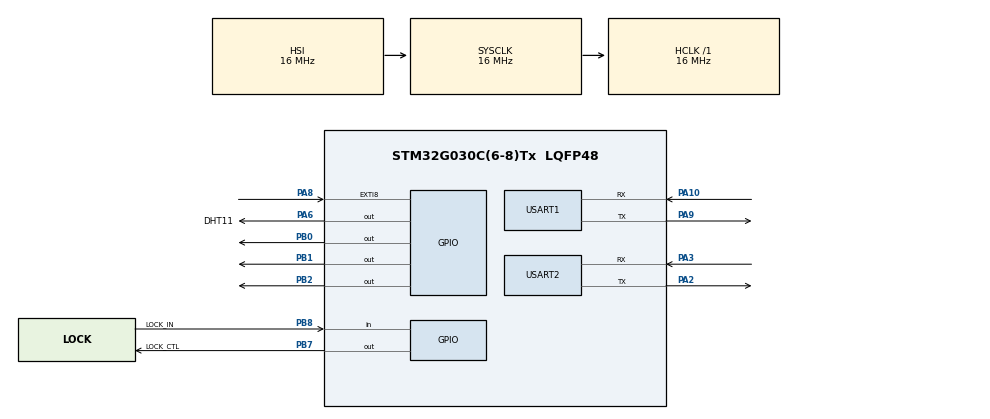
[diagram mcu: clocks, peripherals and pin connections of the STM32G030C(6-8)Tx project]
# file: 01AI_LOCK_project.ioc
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Mcu.Family=STM32G0
Mcu.Name=STM32G030C(6-8)Tx
Mcu.Package=LQFP48
NVIC.EXTI4_15_IRQn=true\:0\:0\:false\:false\:true\:true\:true\:true
NVIC.USART1_IRQn=true\:0\:0\:false\:false\:true\:true\:true\:true
NVIC.USART2_IRQn=true\:0\:0\:false\:false\:true\:true\:true\:true
PA10.Mode=Asynchronous
PA10.Signal=USART1_RX
PA13.Mode=Serial_Wire
PA13.Signal=SYS_SWDIO
PA14-BOOT0.Mode=Serial_Wire
PA14-BOOT0.Signal=SYS_SWCLK
PA2.Mode=Asynchronous
PA2.Signal=USART2_TX
PA3.Mode=Asynchronous
PA3.Signal=USART2_RX
PA6.GPIO_Label=DHT11
PA6.Signal=GPIO_Output
PA8.GPIO_ModeDefaultEXTI=GPIO_MODE_IT_FALLING
PA8.GPIO_PuPd=GPIO_NOPULL
PA8.Signal=GPXTI8
PA9.Mode=Asynchronous
PA9.Signal=USART1_TX
PB0.Signal=GPIO_Output
PB1.PinState=GPIO_PIN_RESET
PB1.Signal=GPIO_Output
PB2.PinState=GPIO_PIN_RESET
PB2.Signal=GPIO_Output
PB7.GPIO_Label=LOCK_CTL
PB7.Signal=GPIO_Output
PB8.GPIO_Label=LOCK_IN
PB8.GPIO_PuPd=GPIO_PULLUP
PB8.Signal=GPIO_Input
ProjectManager.HeapSize=0x200
ProjectManager.StackSize=0x400
ProjectManager.TargetToolchain=STM32CubeIDE
RCC.AHBFreq_Value=16000000
RCC.CortexFreq_Value=16000000
RCC.EXTERNAL_CLOCK_VALUE=12288000
RCC.HCLKFreq_Value=16000000
RCC.HSE_VALUE=8000000
RCC.HSI_VALUE=16000000
RCC.LSE_VALUE=32768
RCC.SYSCLKFreq_VALUE=16000000
RCC.VCOOutputFreq_Value=128000000
USART1.VirtualMode-Asynchronous=VM_ASYNC
USART2.VirtualMode-Asynchronous=VM_ASYNC
board=custom

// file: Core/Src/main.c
/* USER CODE BEGIN Header */
/**
  ******************************************************************************
  * @file           : main.c
  * @brief          : Main program body
  ******************************************************************************
  * @attention
  *
  * Copyright (c) 2026 STMicroelectronics.
  * All rights reserved.
  *
  * This software is licensed under terms that can be found in the LICENSE file
  * in the root directory of this software component.
  * If no LICENSE file comes with this software, it is provided AS-IS.
  *
  ******************************************************************************
  */
/* USER CODE END Header */
#include "main.h"
#include "usart.h"
#include "gpio.h"

/* USER CODE BEGIN Includes */
#include <stdio.h>
#include <string.h>
#include <stdlib.h>
#include "cJSON.h"
#include "wifi.h"
#include "huawei_yun.h"
#include "dht11.h"

/* USER CODE END Includes */

void SystemClock_Config(void);

/* USER CODE BEGIN 0 */
enum CMD_TYPE
{
	LOCK_STATE = 0,
	TEMP_VAL,
};

struct cmd_t
{
	int type;
	int lock_state;
	float temp;
};
uint8_t Rx_buf[32];
int state = 0;
uint8_t humiH,humiL,tempH,tempL;
/* USER CODE END 0 */

int main(void)
{

  /* MCU Configuration--------------------------------------------------------*/

  /* Reset of all peripherals, Initializes the Flash interface and the Systick. */
  HAL_Init();

  /* Configure the system clock */
  SystemClock_Config();

  /* Initialize all configured peripherals */
  MX_GPIO_Init();
  MX_USART1_UART_Init();
  MX_USART2_UART_Init();
  /* USER CODE BEGIN 2 */
  //�??启串口不定长接收中断
  HAL_UARTEx_ReceiveToIdle_IT(&huart1, Rx_buf,sizeof(Rx_buf));
  //开启串口2的不定长接收中断
  HAL_UARTEx_ReceiveToIdle_IT(&huart2, USART2_RxBuff, 1024);

  // 初始化
  WIFI_Connect();
  Huawei_Yun_Init();

  // 华为云连接成功的标准
  connect_flag = 1;

  int time = 1;
  // 采集到的实际锁状态
  int lock_state_equipment = 0;

  //初始�?
  delay_init(16);
  /* USER CODE END 2 */

  /* Infinite loop */
  /* USER CODE BEGIN WHILE */
  while (1)
  {
	 // 45是防止被10整除，导致两条数据一起发送沾包
	 if(time++ == 45)
	 {
		time = 1;
		DHT11_Read_Data(&humiH,&humiL,&tempH,&tempL);
		float temp = tempH + tempL * 0.1;	// 确保tempL是小数部分的适当表示

//		u1_printf("当前温度为%0.2fC\n",temp);
//		u1_printf("当前温度整数位%dC\n",tempH);
//		u1_printf("当前温度小数位%dC\n",tempL);

		struct cmd_t cmd;
		memset(&cmd,0,sizeof(cmd));
//		cmd.start = 0xEC;
		cmd.type = TEMP_VAL;
		cmd.temp = temp;
		HAL_UART_Transmit(&huart1,(uint8_t*)&cmd,sizeof(cmd),100);

		// 发送数据，锁状态和温度值给华为云
		Huawei_Yun_Send_Temp_Lock(lock_state_equipment,temp);
	 }

	 // 每一秒钟读取�?次锁状�??
	 if(!(time % 10))
	 {
		 lock_state_equipment = HAL_GPIO_ReadPin(LOCK_IN_GPIO_Port,LOCK_IN_Pin);
		 if(lock_state_equipment == 1) // 代表�?锁状�?
		 {
			 // 锁打�?后，继电器应该接�?关闭
			 HAL_GPIO_WritePin(LOCK_CTL_GPIO_Port,LOCK_CTL_Pin,GPIO_PIN_RESET);
		 }
//		 u1_printf("lock_state_equipment:%d\n",lock_state_equipment);

		// 上报锁状态
		struct cmd_t cmd;
		memset(&cmd,0,sizeof(cmd));
//		cmd.start = 0xEC;
		cmd.type = LOCK_STATE;
		cmd.lock_state = lock_state_equipment;
		HAL_UART_Transmit(&huart1,(uint8_t *)&cmd,sizeof(cmd),100);
	 }

	 if (tt_flag == 1)
	 {
		tt_flag = 0;
		// 获取华为云下发的锁状态
		int lock_state = Huawei_Yun_GetRCV_lock();
		if (lock_state >= 0)	// 如果是非法订阅内容，直接跳过
		{
			 if(lock_state == 1)	// �???�???
			 {
				 // 将继电器拉高
				 // u1_printf("open lock:%d\n",lock_state);
				 HAL_GPIO_WritePin(LOCK_CTL_GPIO_Port,LOCK_CTL_Pin,GPIO_PIN_SET);
			 }
			 else	// 关锁
			 {
				 // 关闭继电�???
				 // u1_printf("close lock:%d\n",lock_state);
				 HAL_GPIO_WritePin(LOCK_CTL_GPIO_Port,LOCK_CTL_Pin,GPIO_PIN_RESET);
			 }
		}
	 }
	 HAL_Delay(200);
    /* USER CODE END WHILE */

  }
}

void SystemClock_Config(void)
{
  RCC_OscInitTypeDef RCC_OscInitStruct = {0};
  RCC_ClkInitTypeDef RCC_ClkInitStruct = {0};

  /** Configure the main internal regulator output voltage
  */
  HAL_PWREx_ControlVoltageScaling(PWR_REGULATOR_VOLTAGE_SCALE1);

  /** Initializes the RCC Oscillators according to the specified parameters
  * in the RCC_OscInitTypeDef structure.
  */
  RCC_OscInitStruct.OscillatorType = RCC_OSCILLATORTYPE_HSI;
  RCC_OscInitStruct.HSIState = RCC_HSI_ON;
  RCC_OscInitStruct.HSIDiv = RCC_HSI_DIV1;
  RCC_OscInitStruct.HSICalibrationValue = RCC_HSICALIBRATION_DEFAULT;
  RCC_OscInitStruct.PLL.PLLState = RCC_PLL_NONE;
  if (HAL_RCC_OscConfig(&RCC_OscInitStruct) != HAL_OK)
  {
    Error_Handler();
  }

  /** Initializes the CPU, AHB and APB buses clocks
  */
  RCC_ClkInitStruct.ClockType = RCC_CLOCKTYPE_HCLK|RCC_CLOCKTYPE_SYSCLK
                              |RCC_CLOCKTYPE_PCLK1;
  RCC_ClkInitStruct.SYSCLKSource = RCC_SYSCLKSOURCE_HSI;
  RCC_ClkInitStruct.AHBCLKDivider = RCC_SYSCLK_DIV1;
  RCC_ClkInitStruct.APB1CLKDivider = RCC_HCLK_DIV1;

  if (HAL_RCC_ClockConfig(&RCC_ClkInitStruct, FLASH_LATENCY_0) != HAL_OK)
  {
    Error_Handler();
  }
}

/* USER CODE BEGIN 4 */
//串口中断回调函数
void HAL_UARTEx_RxEventCallback(UART_HandleTypeDef *huart, uint16_t Size)
{
	if(huart == &huart1)
	{
		if(strcmp(Rx_buf,"open") == 0)
		{
			HAL_GPIO_WritePin(GPIOB, GPIO_PIN_7, 1);
		}
		//清空数组
		memset(Rx_buf,0,32);

		//�??启串口不定长接收中断
		HAL_UARTEx_ReceiveToIdle_IT(&huart1, Rx_buf,sizeof(Rx_buf));
	}
	if(huart->Instance == USART2)
	{
		if(connect_flag == 1)
		{
			  tt_flag = 1;
		}
		__HAL_UART_CLEAR_IDLEFLAG(&huart2);
	 	huart2.RxXferCount = 1024;
		huart2.pRxBuffPtr = (uint8_t *)USART2_RxBuff;

		HAL_UARTEx_ReceiveToIdle_IT(&huart2, USART2_RxBuff, 1024);
	}
}

/* USER CODE END 4 */

void Error_Handler(void)
{
  __disable_irq();
  while (1)
  {
  }
}
